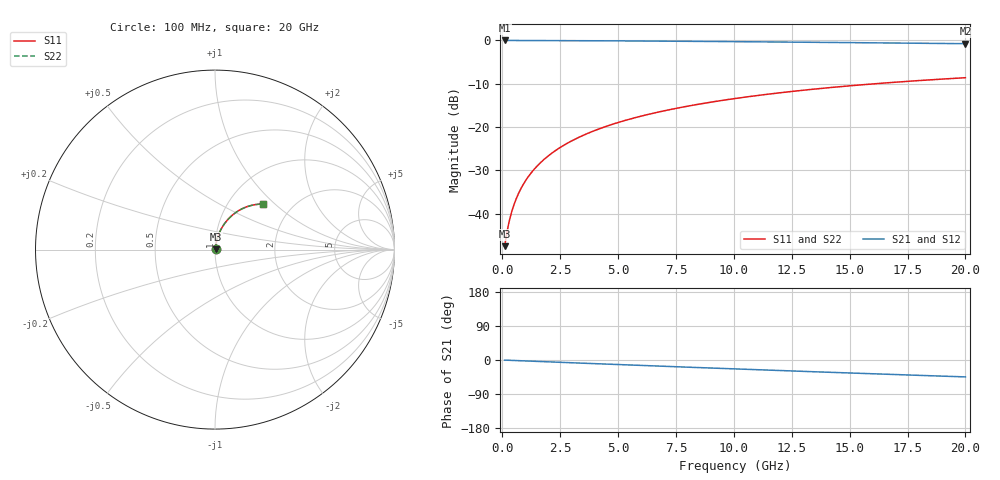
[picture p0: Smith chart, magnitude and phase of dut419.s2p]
! Touchstone file exported from HFSS 2026.1.0
!  File:  C:/ffzhzh/LocalFiles/Ansys_Project_Files/temp_train_TMRDL_419_1783005233_53980.aedt
!  Generated:  11:15:17 PM Jul  2, 2026
!  Design:  TMRDL
!  Project:  temp_train_TMRDL_419_1783005233_53980
! Variables:
!  h_bsmrdl = 2um
!  h_ox = 20um
!  h_rdl = 5um
!  h_sub = 80um
!  h_tmrdl = 5.1um
!  h_tsv = 80um
!  h_via = 3um
!  l_bsmrdl = 300um
!  l_sub = 1101.25um
!  l_tmrdl = 701.25um
!  m_sub = 200um
!  pitch = 34.48um
!  r_tsv = 6um
!  s_tmrdl = 10um
!  w_bsmrdl = 18um
!  w_sub = 500um
!  w_tmrdl = 14.92um
!  x_tsv_center1 = 708.71um
!  x_tsv_center2 = 1026.71um
!  x_tsv_center3 = 1742.88um
!  x_tsv_center4 = 2060.88um
!  x_tsv_center5 = 2777.05um
!  x_tsv_center6 = 3095.05um
# GHz S MA R 50.000000
! Terminal data exported
! Port[1] = TM_RDL1_1_T1
! Port[2] = TM_RDL1_1_T2
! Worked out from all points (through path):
!   200 points, 100 MHz to 20 GHz, reference 50 ohm
!   highest |S21| = -0.03 dB at 100 MHz (marker M1); lowest = -0.8 dB at 20 GHz (marker M2)
!   group delay of S21, straight-line fit = 6.19 ps
!   lowest |S11| = -47.5 dB at 100 MHz (marker M3), VSWR 1.01, Z = 50.3 + j0.254 ohm
!   |S11| at or under -10 dB: start of sweep to 16.14 GHz
!   |S22| runs from -47.5 to -8.6 dB; largest |S21 - S12| = 3e-15
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0.1  0.004209 36.8  0.9966 -0.3  0.9966 -0.3  0.004209 36.8
! Gamma 0 0 0 0
! Port Impedance 50 0 50 0
0.2  0.006091 54.4  0.9965 -0.5  0.9965 -0.5  0.006091 54.4
0.3  0.0082 62.9  0.9963 -0.8  0.9963 -0.8  0.0082 62.9
0.4  0.01037 67.8  0.9962 -1.0  0.9962 -1.0  0.01037 67.8
0.5  0.01258 71.0  0.9961 -1.2  0.9961 -1.2  0.01258 71.0
0.6  0.01481 73.2  0.996 -1.5  0.996 -1.5  0.01481 73.2
0.8  0.01932 76.0  0.9958 -2.0  0.9958 -2.0  0.01932 76.0
1.1  0.02616 78.1  0.9955 -2.7  0.9955 -2.7  0.02616 78.1
1.3  0.03073 78.7  0.9952 -3.2  0.9952 -3.2  0.03073 78.7
1.6  0.03759 79.2  0.9948 -3.9  0.9948 -3.9  0.03759 79.2
2.1  0.04897 79.1  0.9939 -5.1  0.9939 -5.1  0.04897 79.1
2.7  0.06249 78.4  0.9926 -6.6  0.9926 -6.6  0.06249 78.4
3.5  0.08023 77.1  0.9906 -8.5  0.9906 -8.5  0.08023 77.1
4.2  0.09546 75.7  0.9885 -10.1  0.9885 -10.1  0.09546 75.7
5  0.1125 74.1  0.986 -12.0  0.986 -12.0  0.1126 74.1
5.9  0.1314 72.2  0.9828 -14.1  0.9828 -14.1  0.1314 72.2
6.8  0.1498 70.3  0.9795 -16.2  0.9795 -16.2  0.1498 70.3
8.3  0.1796 67.1  0.9735 -19.6  0.9735 -19.6  0.1796 67.1
10.1  0.2139 63.4  0.9656 -23.6  0.9656 -23.6  0.2139 63.3
13.4  0.2724 56.5  0.9496 -30.9  0.9496 -30.9  0.2724 56.5
16.7  0.3246 49.8  0.9323 -37.9  0.9323 -37.9  0.3246 49.7
20  0.3702 43.3  0.9148 -44.6  0.9148 -44.6  0.3702 43.2
